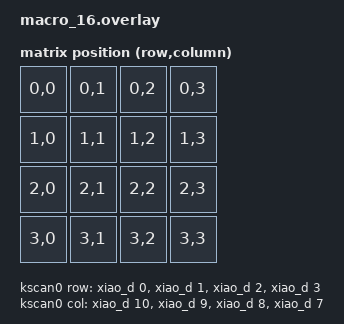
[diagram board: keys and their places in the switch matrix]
#include <dt-bindings/zmk/matrix_transform.h>
#include <physical_layouts.dtsi>

/ {
    keypad_position_map {      
        compatible = "zmk,physical-layout-position-map";
        // complete; // Optional, see 'Example non-complete position map' 
        macropad_map: macropad {   
            // physical-layout = <&physical_layout0>;      
            positions
                = < 0  1  2  3>
                , < 4  5  6  7>
                , < 8  9 10 11>
                , <12 13 14 15>;
        };
    };
};

/ {
    physical_layout0: physical_layout_0 { // First physical layout, use different naming for other layouts
        compatible = "zmk,physical-layout";
        display-name = "Default Layout";
        kscan = <&kscan0>; // Label of the kscan node, optional if all layouts use the same
        transform = <&default_transform>; // Label of the matrix transform for this layout
          keys  //                     w   h    x    y     rot    rx    ry
            = <&key_physical_attrs 100 100    0    0       0     0     0>
            , <&key_physical_attrs 100 100  100    0       0     0     0>
            , <&key_physical_attrs 100 100  200    0       0     0     0>
            , <&key_physical_attrs 100 100  300    0       0     0     0>
            , <&key_physical_attrs 100 100    0  100       0     0     0>
            , <&key_physical_attrs 100 100  100  100       0     0     0>
            , <&key_physical_attrs 100 100  200  100       0     0     0>
            , <&key_physical_attrs 100 100  300  100       0     0     0>
            , <&key_physical_attrs 100 100    0  200       0     0     0>
            , <&key_physical_attrs 100 100  100  200       0     0     0>
            , <&key_physical_attrs 100 100  200  200       0     0     0>
            , <&key_physical_attrs 100 100  300  200       0     0     0>
            , <&key_physical_attrs 100 100    0  300       0     0     0>
            , <&key_physical_attrs 100 100  100  300       0     0     0>
            , <&key_physical_attrs 100 100  200  300       0     0     0>
            , <&key_physical_attrs 100 100  300  300       0     0     0>
            ;
    };

    kscan0: kscan0 {
        compatible = "zmk,kscan-gpio-matrix";
        diode-direction = "col2row";
        wakeup-source;

        col-gpios
            = <&xiao_d 10 (GPIO_ACTIVE_HIGH)>
            , <&xiao_d 9 (GPIO_ACTIVE_HIGH)>
            , <&xiao_d 8 (GPIO_ACTIVE_HIGH)>
            , <&xiao_d 7 (GPIO_ACTIVE_HIGH)>
            ;

        row-gpios
            = <&xiao_d 0 (GPIO_ACTIVE_HIGH | GPIO_PULL_DOWN)>
            , <&xiao_d 1 (GPIO_ACTIVE_HIGH | GPIO_PULL_DOWN)>
            , <&xiao_d 2 (GPIO_ACTIVE_HIGH | GPIO_PULL_DOWN)>
            , <&xiao_d 3 (GPIO_ACTIVE_HIGH | GPIO_PULL_DOWN)>
            ;
    };

    default_transform: keymap_transform0 {
        compatible = "zmk,matrix-transform";
        columns = <4>; // Length of the "col-gpios" array
        rows = <4>; // Length of the "row-gpios" array
        map = <
        //   Key 1 | Key 2 | Key 3
            RC(0,0) RC(0,1) RC(0,2) RC(0,3)
            RC(1,0) RC(1,1) RC(1,2) RC(1,3)
            RC(2,0) RC(2,1) RC(2,2) RC(2,3)
            RC(3,0) RC(3,1) RC(3,2) RC(3,3)
        >;
    };

    chosen {
    // zmk,kscan = &kscan0;
    // zmk,matrix-transform = &default_transform;
    zmk,physical-layout = &physical_layout0;
        // Other chosen items
    };
};
